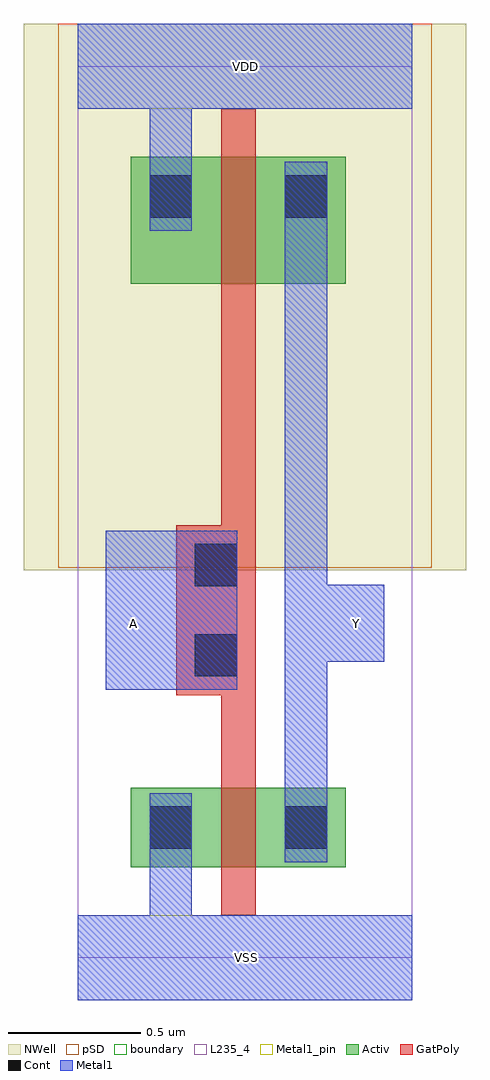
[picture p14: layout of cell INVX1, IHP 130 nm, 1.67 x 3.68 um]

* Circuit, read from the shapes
.subckt INVX1 A VDD VSS Y
XM1 Y A VSS VSUBS sg13_lv_nmos w=0.3u l=0.13u
XM2 Y A VDD n1 sg13_lv_pmos w=0.48u l=0.13u
.ends

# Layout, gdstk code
import gdstk
lib = gdstk.Library(unit=1e-6, precision=1e-09)
def R(c, l, rs):  # rectangles x0, y0, x1, y1
    for r in rs: c.add(gdstk.rectangle(r[:2], r[2:], *l))
def P(c, l, *ps):  # polygons
    for p in ps: c.add(gdstk.Polygon(p, *l))
Activ = (1, 0)
GatPoly = (5, 0)
Cont = (6, 0)
Metal1 = (8, 0)
Metal1_pin = (8, 2)
pSD = (14, 0)
NWell = (31, 0)
boundary = (189, 4)
L235_4 = (235, 4)

invx1 = lib.new_cell('INVX1')
R(invx1, Activ, [(0.2,0.34,1.01,0.64), (0.2,2.54,1.01,3.02)])
P(invx1, GatPoly, [(0.54,0.16),(0.54,0.99),(0.37,0.99),(0.37,1.63),(0.54,1.63),(0.54,3.2),(0.67,3.2),(0.67,0.16)])
R(invx1, Cont, [(0.27,0.41,0.43,0.57), (0.78,0.41,0.94,0.57), (0.44,1.06,0.6,1.22), (0.44,1.4,0.6,1.56), (0.27,2.79,0.43,2.95), (0.78,2.79,0.94,2.95)])
R(invx1, Metal1, [(0.105,1.01,0.6,1.61)])
P(invx1, Metal1, [(0.78,0.36),(0.78,3),(0.94,3),(0.94,1.405),(1.155,1.405),(1.155,1.115),(0.94,1.115),(0.94,0.36)],
  [(0.27,2.74),(0.27,3.2),(0,3.2),(0,3.52),(1.26,3.52),(1.26,3.2),(0.43,3.2),(0.43,2.74)],
  [(0,-0.16),(0,0.16),(0.27,0.16),(0.27,0.62),(0.43,0.62),(0.43,0.16),(1.26,0.16),(1.26,-0.16)])
R(invx1, Metal1_pin, [(0,-0.16,1.26,0.16), (0.105,1.01,0.6,1.61), (0.94,1.115,1.155,1.405), (0,3.2,1.26,3.52)])
P(invx1, Metal1_pin, [(0.78,0.36),(0.78,3),(0.94,3),(0.94,1.405),(1.155,1.405),(1.155,1.115),(0.94,1.115),(0.94,0.36)])
R(invx1, pSD, [(-0.075,1.47,1.335,3.52)])
R(invx1, NWell, [(-0.205,1.46,1.465,3.52)])
R(invx1, boundary, [(0,0,1.26,3.36)])
R(invx1, L235_4, [(0,0,1.26,3.36)])
invx1.add(gdstk.Label('VSS', (0.635,0), layer=8, texttype=25))
invx1.add(gdstk.Label('VDD', (0.63,3.36), layer=8, texttype=25))
invx1.add(gdstk.Label('Y', (1.05,1.26), layer=8, texttype=25))
invx1.add(gdstk.Label('A', (0.21,1.26), layer=8, texttype=25))

lib.write_gds('INVX1.gds')
